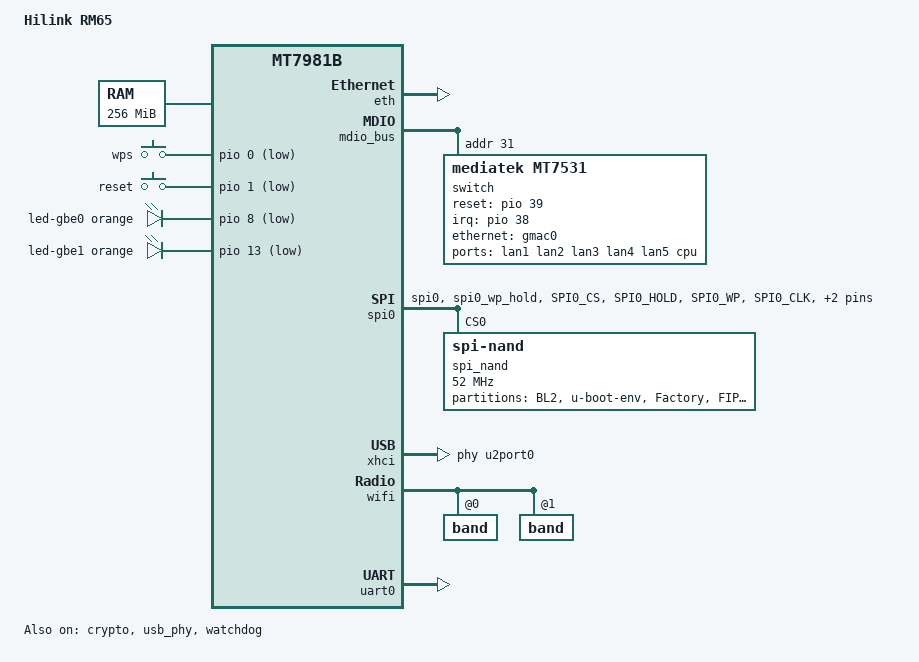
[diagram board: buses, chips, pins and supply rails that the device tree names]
// SPDX-License-Identifier: (GPL-2.0 OR MIT)

/dts-v1/;
#include "mt7981b.dtsi"

/ {
	model = "Hilink RM65";
	compatible = "hilink,rm65", "mediatek,mt7981b";

	aliases {
		label-mac-device = &gmac0;
		serial0 = &uart0;
	};

	chosen {
		stdout-path = "serial0:115200n8";
		bootargs = " ubi.mtd=ubi ubi.mtd=userdata";
	};

	memory {
		reg = <0 0x40000000 0 0x10000000>;
	};

	gpio-keys {
		compatible = "gpio-keys";

		wps {
			label = "wps";
			linux,code = <KEY_WPS_BUTTON>;
			gpios = <&pio 0 GPIO_ACTIVE_LOW>;
		};

		reset {
			label = "reset";
			linux,code = <KEY_RESTART>;
			gpios = <&pio 1 GPIO_ACTIVE_LOW>;
		};
	};

	gpio-leds {
		compatible = "gpio-leds";

		led-gbe0 {
			function = LED_FUNCTION_WAN;
			function-enumerator = <0>;
			color = <LED_COLOR_ID_ORANGE>;
			gpios = <&pio 8 GPIO_ACTIVE_LOW>;
		};

		led-gbe1 {
			function = LED_FUNCTION_WAN;
			function-enumerator = <1>;
			color = <LED_COLOR_ID_ORANGE>;
			gpios = <&pio 13 GPIO_ACTIVE_LOW>;
		};
	};
};

&eth {
	status = "okay";

	gmac0: mac@0 {
		compatible = "mediatek,eth-mac";
		reg = <0>;
		nvmem-cells = <&macaddr_factory_4 (1)>;
		nvmem-cell-names = "mac-address";
		phy-mode = "2500base-x";

		fixed-link {
			speed = <2500>;
			full-duplex;
			pause;
		};
	};

	gmac1: mac@1 {
		compatible = "mediatek,eth-mac";
		reg = <1>;
		nvmem-cells = <&macaddr_factory_4 (2)>;
		nvmem-cell-names = "mac-address";
		phy-mode = "gmii";
		phy-handle = <&int_gbe_phy>;
	};
};

&mdio_bus {
	switch: switch@1f {
		compatible = "mediatek,mt7531";
		reg = <31>;
		interrupt-controller;
		#interrupt-cells = <1>;
		interrupt-parent = <&pio>;
		interrupts = <38 IRQ_TYPE_LEVEL_HIGH>;
		reset-gpios = <&pio 39 GPIO_ACTIVE_HIGH>;
	};
};

&switch {
	ports {
		#address-cells = <1>;
		#size-cells = <0>;

		port@0 {
			reg = <0>;
			label = "lan1";
		};

		port@1 {
			reg = <1>;
			label = "lan2";
		};

		port@2 {
			reg = <2>;
			label = "lan3";
		};

		port@3 {
			reg = <3>;
			label = "lan4";
		};

		port@4 {
			reg = <4>;
			label = "lan5";
		};

		port@6 {
			reg = <6>;
			label = "cpu";
			ethernet = <&gmac0>;
			phy-mode = "2500base-x";

			fixed-link {
				speed = <2500>;
				full-duplex;
				pause;
			};
		};
	};
};

&crypto {
	status = "okay";
};

&spi0 {
	pinctrl-names = "default";
	pinctrl-0 = <&spi0_flash_pins>;
	#address-cells = <1>;
	#size-cells = <0>;
	status = "okay";

	spi_nand: spi_nand@0 {
		#address-cells = <1>;
		#size-cells = <1>;

		compatible = "spi-nand";
		reg = <0>;
		spi-max-frequency = <52000000>;
		spi-tx-bus-width = <4>;
		spi-rx-bus-width = <4>;

		mediatek,nmbm;
		mediatek,bmt-max-ratio = <1>;
		mediatek,bmt-max-reserved-blocks = <64>;

		partitions {
			compatible = "fixed-partitions";
			#address-cells = <1>;
			#size-cells = <1>;

			partition@0 {
				label = "BL2";
				reg = <0x0000000 0x0100000>;
				read-only;
			};

			partition@100000 {
				label = "u-boot-env";
				reg = <0x0100000 0x0080000>;
			};

			factory: partition@180000 {
				label = "Factory";
				reg = <0x180000 0x0200000>;
				read-only;

				nvmem-layout {
					compatible = "fixed-layout";
					#address-cells = <1>;
					#size-cells = <1>;

					eeprom_factory_0: eeprom@0 {
						reg = <0x0 0x1000>;
					};

					macaddr_factory_4: macaddr@4 {
						compatible = "mac-base";
						reg = <0x4 0x6>;
						#nvmem-cell-cells = <1>;
					};
				};
			};

			partition@380000 {
				label = "FIP";
				reg = <0x380000 0x0200000>;
				read-only;
			};

			partition@580000 {
				label = "ubi";
				reg = <0x580000 0x4000000>;
			};

			partition@4580000 {
				label = "userdata";
				reg = <0x4580000 0x3280000>;
			};
		};
	};
};

&pio {
	spi0_flash_pins: spi0-pins {
		mux {
			function = "spi";
			groups = "spi0", "spi0_wp_hold";
		};

		conf-pu {
			pins = "SPI0_CS", "SPI0_HOLD", "SPI0_WP";
			drive-strength = <MTK_DRIVE_8mA>;
			bias-pull-up = <MTK_PUPD_SET_R1R0_11>;
		};

		conf-pd {
			pins = "SPI0_CLK", "SPI0_MOSI", "SPI0_MISO";
			drive-strength = <MTK_DRIVE_8mA>;
			bias-pull-down = <MTK_PUPD_SET_R1R0_11>;
		};
	};
};

&xhci {
	mediatek,u3p-dis-msk = <0x0>;
	phys = <&u2port0 PHY_TYPE_USB2>,
	       <&u3port0 PHY_TYPE_USB3>;
	status = "okay";
};

&wifi {
	status = "okay";
	#address-cells = <1>;
	#size-cells = <0>;
	nvmem-cell-names = "eeprom";
	nvmem-cells = <&eeprom_factory_0>;

	band@0 {
		reg = <0>;
		nvmem-cells = <&macaddr_factory_4 (0)>;
		nvmem-cell-names = "mac-address";
	};

	band@1 {
		reg = <1>;
		nvmem-cells = <&macaddr_factory_4 (-1)>;
		nvmem-cell-names = "mac-address";
	};
};

&uart0 {
	status = "okay";
};

&usb_phy {
	status = "okay";
};

&watchdog {
	status = "okay";
};
